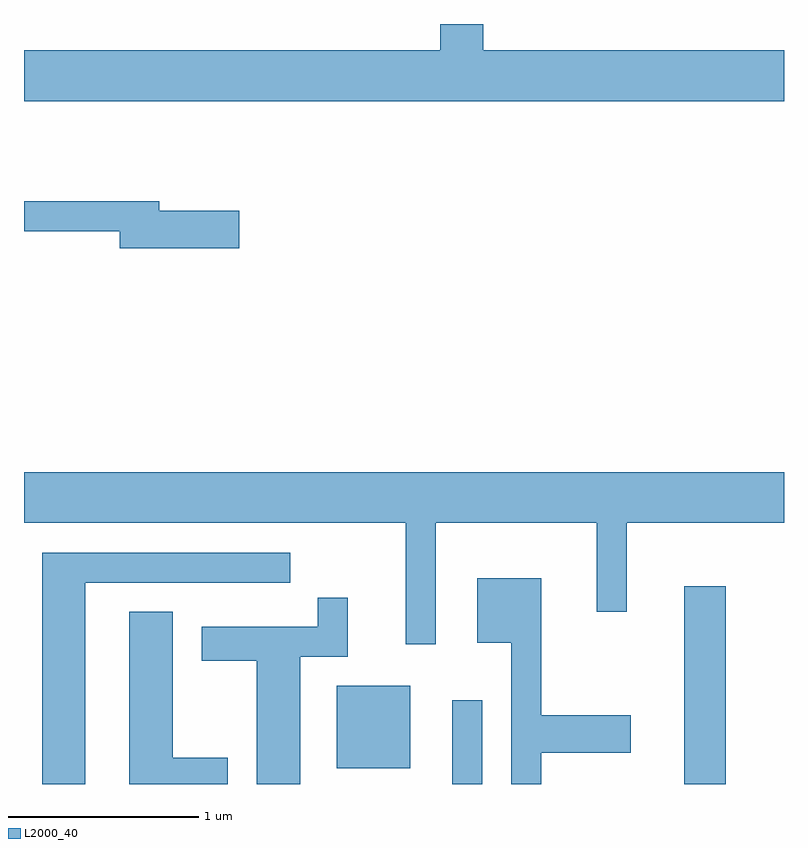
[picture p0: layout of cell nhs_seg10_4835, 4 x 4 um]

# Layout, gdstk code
import gdstk
lib = gdstk.Library(unit=1e-6, precision=1e-09)
def R(c, l, rs):  # rectangles x0, y0, x1, y1
    for r in rs: c.add(gdstk.rectangle(r[:2], r[2:], *l))
def P(c, l, *ps):  # polygons
    for p in ps: c.add(gdstk.Polygon(p, *l))
L2000_40 = (2000, 40)

nhs_seg10_4835 = lib.new_cell('nhs_seg10_4835')
R(nhs_seg10_4835, L2000_40, [(329.866,2132.522,330.024,2132.963), (331.086,2132.522,331.304,2133.564), (329.256,2132.606,329.644,2133.039)])
P(nhs_seg10_4835, L2000_40, [(331.611,2136.384),(330.029,2136.384),(330.029,2136.522),(329.801,2136.522),(329.801,2136.384),(327.611,2136.384),(327.611,2136.116),(331.611,2136.116)],
  [(328.744,2135.539),(328.324,2135.539),(328.324,2135.589),(327.611,2135.589),(327.611,2135.431),(328.116,2135.431),(328.116,2135.341),(328.744,2135.341)],
  [(329.779,2133.896),(330.626,2133.896),(330.626,2133.428),(330.784,2133.428),(330.784,2133.896),(331.611,2133.896),(331.611,2134.164),(327.611,2134.164),(327.611,2133.896),(329.621,2133.896),(329.621,2133.258),(329.779,2133.258)],
  [(327.934,2133.581),(329.013,2133.581),(329.013,2133.739),(327.706,2133.739),(327.706,2132.522),(327.934,2132.522)],
  [(330.334,2132.686),(330.804,2132.686),(330.804,2132.884),(330.334,2132.884),(330.334,2133.604),(329.996,2133.604),(329.996,2133.266),(330.176,2133.266),(330.176,2132.522),(330.334,2132.522)],
  [(329.064,2133.191),(329.314,2133.191),(329.314,2133.503),(329.156,2133.503),(329.156,2133.349),(328.546,2133.349),(328.546,2133.171),(328.836,2133.171),(328.836,2132.522),(329.064,2132.522)],
  [(328.684,2132.659),(328.394,2132.659),(328.394,2133.429),(328.166,2133.429),(328.166,2132.522),(328.684,2132.522)])

lib.write_gds('nhs_seg10_4835.gds')
